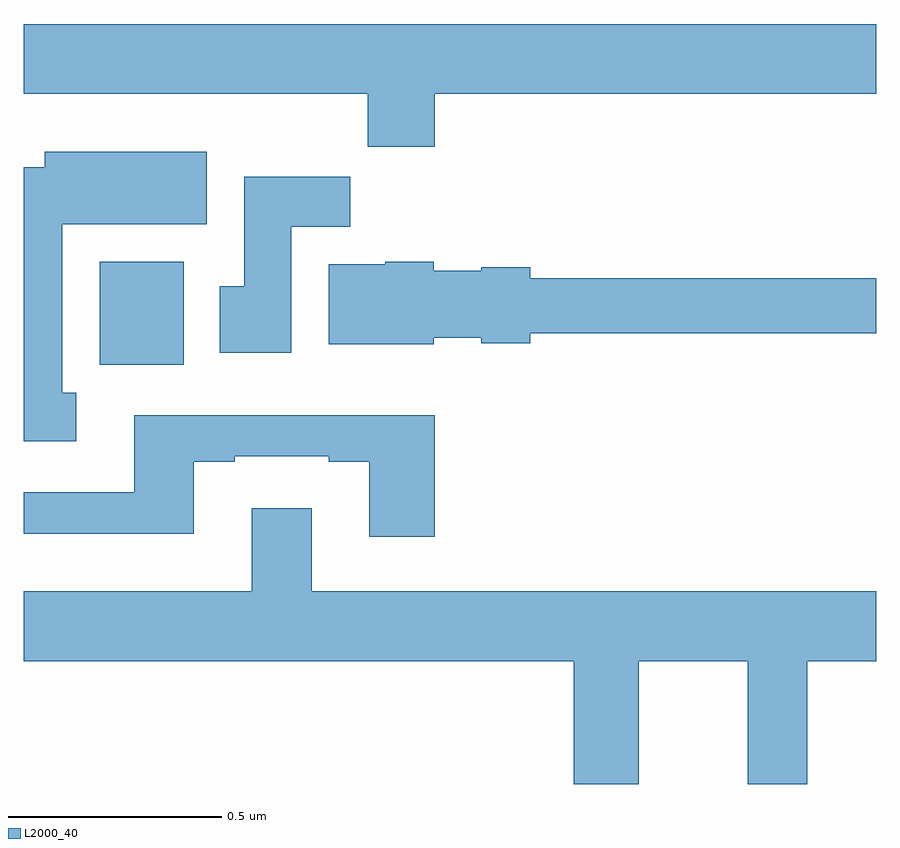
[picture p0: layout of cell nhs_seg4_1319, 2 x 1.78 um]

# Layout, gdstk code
import gdstk
lib = gdstk.Library(unit=1e-6, precision=1e-09)
def R(c, l, rs):  # rectangles x0, y0, x1, y1
    for r in rs: c.add(gdstk.rectangle(r[:2], r[2:], *l))
def P(c, l, *ps):  # polygons
    for p in ps: c.add(gdstk.Polygon(p, *l))
L2000_40 = (2000, 40)

nhs_seg4_1319 = lib.new_cell('nhs_seg4_1319')
R(nhs_seg4_1319, L2000_40, [(127.178,762.884,127.375,763.126)])
P(nhs_seg4_1319, L2000_40, [(127.964,763.52),(129,763.52),(129,763.684),(127,763.684),(127,763.52),(127.807,763.52),(127.807,763.396),(127.964,763.396)],
  [(127.123,762.818),(127.09,762.818),(127.09,763.214),(127.429,763.214),(127.429,763.384),(127.049,763.384),(127.049,763.348),(127,763.348),(127,762.705),(127.123,762.705)],
  [(127.627,763.208),(127.766,763.208),(127.766,763.326),(127.517,763.326),(127.517,763.068),(127.46,763.068),(127.46,762.912),(127.627,762.912)],
  [(127.962,762.947),(128.073,762.947),(128.073,762.935),(128.188,762.935),(128.188,762.958),(129,762.958),(129,763.087),(128.188,763.087),(128.188,763.113),(128.073,763.113),(128.073,763.105),(127.962,763.105),(127.962,763.126),(127.848,763.126),(127.848,763.12),(127.715,763.12),(127.715,762.932),(127.962,762.932)],
  [(127.964,762.766),(127.259,762.766),(127.259,762.585),(127,762.585),(127,762.488),(127.399,762.488),(127.399,762.657),(127.495,762.657),(127.495,762.669),(127.715,762.669),(127.715,762.657),(127.811,762.657),(127.811,762.48),(127.964,762.48)],
  [(128.443,762.188),(128.699,762.188),(128.699,761.9),(128.839,761.9),(128.839,762.188),(129,762.188),(129,762.352),(127.675,762.352),(127.675,762.547),(127.535,762.547),(127.535,762.352),(127,762.352),(127,762.188),(128.291,762.188),(128.291,761.9),(128.443,761.9)])

lib.write_gds('nhs_seg4_1319.gds')
